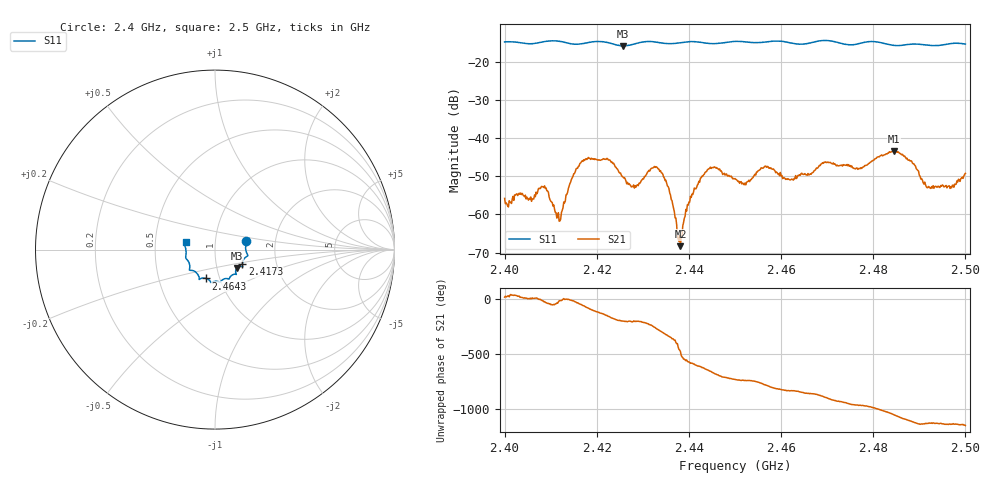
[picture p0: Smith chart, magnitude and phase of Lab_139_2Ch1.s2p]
# Hz S RI R 50
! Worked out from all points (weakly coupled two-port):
!   601 points, 2.4 GHz to 2.5 GHz, reference 50 ohm
!   highest |S21| = -43.36 dB at 2.4845 GHz (marker M1); lowest = -68.3 dB at 2.4382 GHz (marker M2)
!   lowest |S11| = -15.9 dB at 2.4257 GHz (marker M3), VSWR 1.38, Z = 62.5 - j13.1 ohm
!   |S11| at or under -10 dB: start of sweep to end of sweep
!   S12 and S22 are empty: the file has one direction only
!   S11 on the Smith chart (normalised r, x): 2.4 GHz: 1.41, +0.14; 2.4173 GHz: 1.34, -0.23; 2.4643 GHz: 0.86, -0.29; 2.5 GHz: 0.72, +0.06
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2.4e9  0.1736 0.0495  0.00152 0.000554  0 0  0 0
2.4085e9  0.1799 -0.0252  0.00209 -0.000841  0 0  0 0
2.411833e9  0.1807 -0.0362  0.00079 -0.000203  0 0  0 0
2.416667e9  0.153 -0.0744  0.00332 -0.00358  0 0  0 0
2.417333e9  0.1524 -0.0816  0.00237 -0.00449  0 0  0 0
2.4225e9  0.1492 -0.0941  -0.0047 -0.00214  0 0  0 0
2.425667e9  0.1228 -0.1023  -0.00295 0.000956  0 0  0 0
2.428e9  0.1147 -0.1235  -0.00232 0.000725  0 0  0 0
2.433333e9  0.1129 -0.1367  0.00049 0.0039  0 0  0 0
2.4355e9  0.0982 -0.1403  0.00208 0.00101  0 0  0 0
2.438167e9  0.0824 -0.1554  -0.000174 -0.000343  0 0  0 0
2.440167e9  0.0792 -0.1636  -0.00119 0.000838  0 0  0 0
2.443833e9  0.0648 -0.161  0.000699 0.00359  0 0  0 0
2.45e9  0.0293 -0.1809  0.0029 -0.000545  0 0  0 0
2.452333e9  0.0212 -0.1791  0.00228 -0.000867  0 0  0 0
2.456667e9  -0.0114 -0.1796  0.00199 -0.00379  0 0  0 0
2.464333e9  -0.0496 -0.1608  -0.00202 -0.00276  0 0  0 0
2.466667e9  -0.0759 -0.1598  -0.0027 -0.00219  0 0  0 0
2.483333e9  -0.1404 -0.0901  0.00433 0.00465  0 0  0 0
2.4845e9  -0.1426 -0.0775  0.00609 0.003  0 0  0 0
2.492e9  -0.1611 -0.0255  0.00149 -0.00178  0 0  0 0
2.5e9  -0.1637 0.0422  0.00113 -0.00326  0 0  0 0
